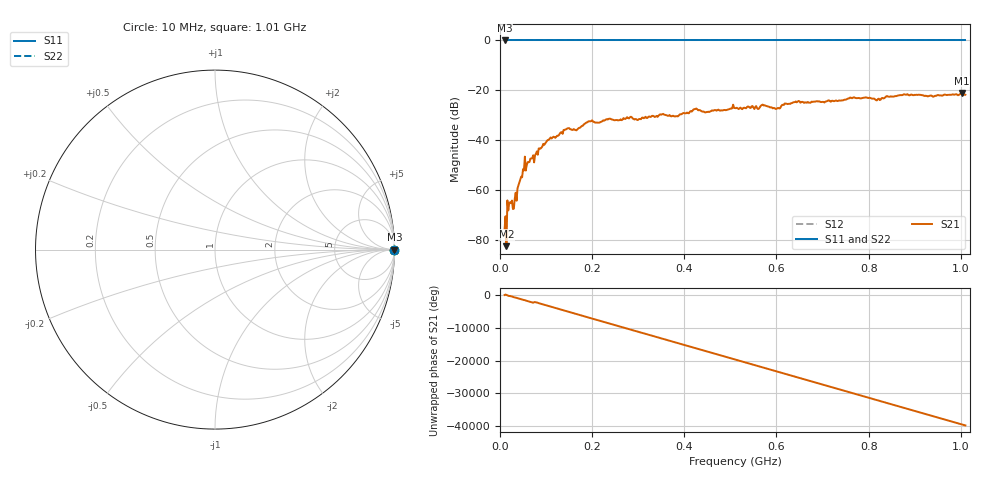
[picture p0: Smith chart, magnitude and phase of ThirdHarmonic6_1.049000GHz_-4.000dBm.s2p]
! 8/16/2025 9:13:52 AM
! C:\ANRITSUVNA\TEMP\TEMP.S2P
! CHANNEL.1
! TR.MEASUREMENT
! RAW.DATA
! RF.CORRECTION.OFF
! AVERAGING.OFF
! IF.BANDWIDTH: 5KHZ
! SWEEPTYPE:  FREQ.SWEEP(Linear)
! Reference Plane Port Info
! PORT:  PORT1  PORT2
! DISTANCE:  0  m  0  m
! TIME:  0  s  0  s
! PHASE.OFFSET:  0  deg.  0  deg.
! LOSS:  0  dB  0  dB
! REF.LOSS:  0  dB  0  dB
! REF.FREQ:  0  Hz  0  Hz
! Power Info
! POWER:  -20  dBm  -20  dBm
! EFF.POWER:  -20  dBm  -20  dBm
! SOURCE.ATTEN:  0  dB  0  dB
! TEST.ATTEN:  0  dB  0  dB
# GHZ S RI R 50.0
! FREQ.GHZ  S11RE  S11IM  S21RE  S21IM  S12RE  S12IM  S22RE  S22IM
!; PortSelection: Port_12
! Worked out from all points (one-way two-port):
!   501 points, 10 MHz to 1.01 GHz, reference 50 ohm
!   highest |S21| = -21.02 dB at 1.002 GHz (marker M1); lowest = -82.5 dB at 14 MHz (marker M2)
!   lowest |S11| = 0.0 dB at 10 MHz (marker M3)
!   |S11| at or under -10 dB: nowhere
!   |S22| runs from 0.0 to 0.0 dB; largest |S21 - S12| = 1.1
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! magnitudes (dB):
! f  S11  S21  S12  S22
! 10 MHz  0.0  -75.5  0.0  0.0
! 14 MHz  0.0  -82.5  0.0  0.0
! 20 MHz  0.0  -65.1  0.0  0.0
! 32 MHz  0.0  -63.5  0.0  0.0
! 50 MHz  0.0  -51.6  0.0  0.0
! 58 MHz  0.0  -50.0  0.0  0.0
! 106 MHz  0.0  -39.8  0.0  0.0
! 142 MHz  0.0  -35.7  0.0  0.0
! 178 MHz  0.0  -34.3  0.0  0.0
! 196 MHz  0.0  -32.4  0.0  0.0
! 344 MHz  0.0  -30.2  0.0  0.0
! 382 MHz  0.0  -30.4  0.0  0.0
! 424 MHz  0.0  -27.4  0.0  0.0
! 448 MHz  0.0  -28.7  0.0  0.0
! 510 MHz  0.0  -27.1  0.0  0.0
! 572 MHz  0.0  -26.0  0.0  0.0
! 602 MHz  0.0  -27.1  0.0  0.0
! 644 MHz  0.0  -24.8  0.0  0.0
! 678 MHz  0.0  -24.6  0.0  0.0
! 844 MHz  0.0  -22.6  0.0  0.0
! 1.002 GHz  0.0  -21.0  0.0  0.0
! 1.01 GHz  0.0  -21.7  0.0  0.0
